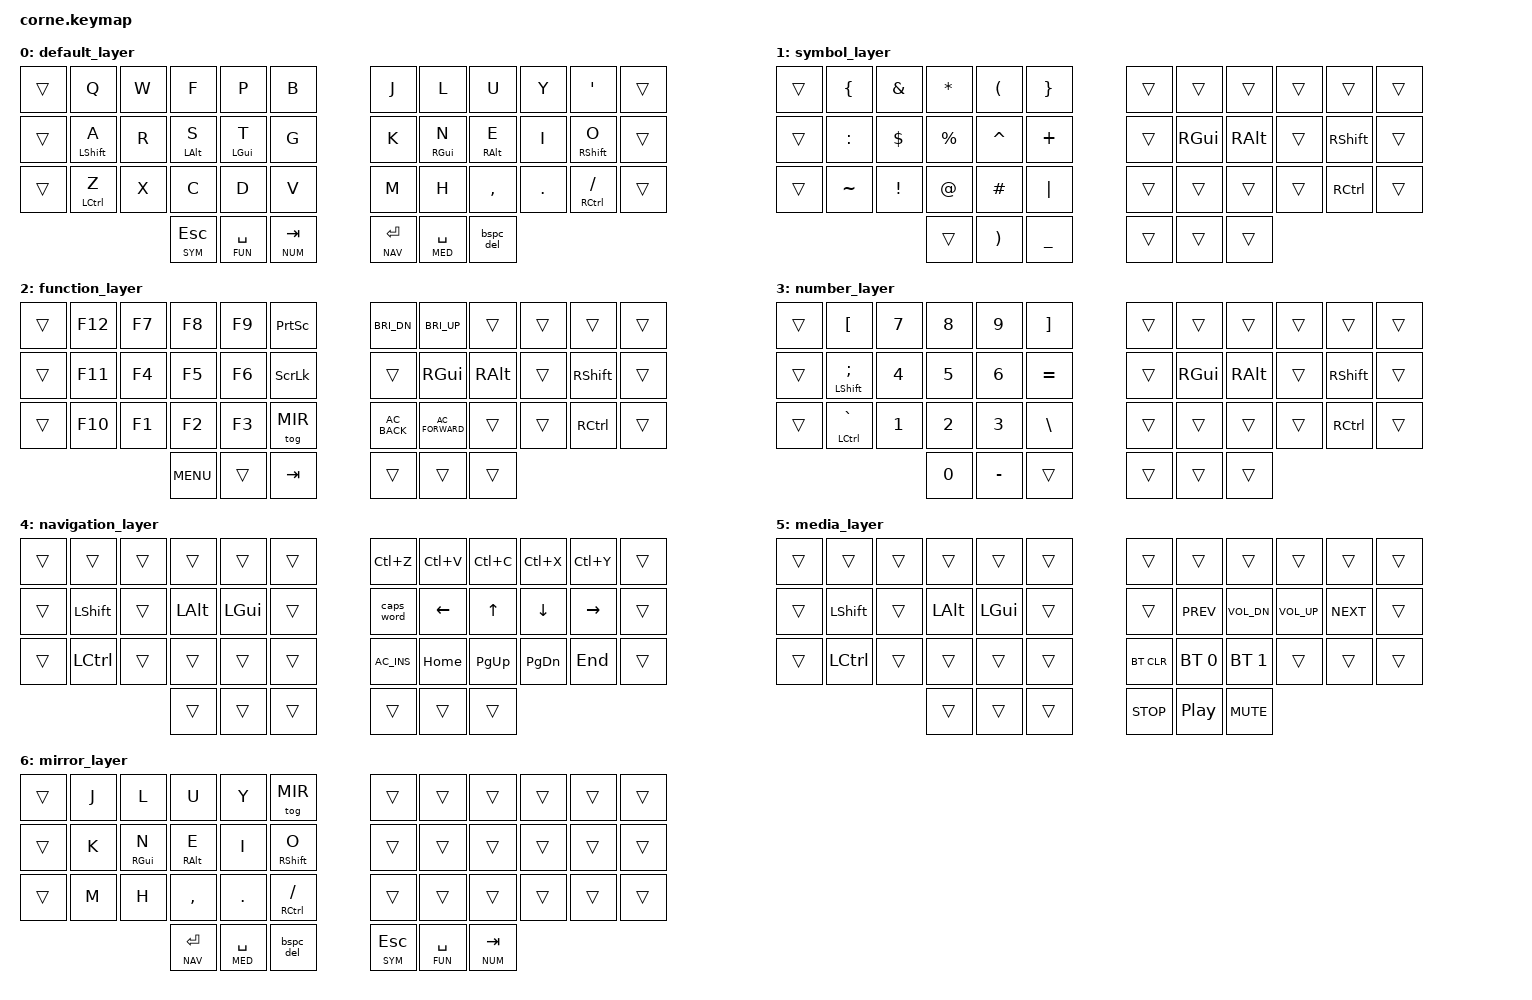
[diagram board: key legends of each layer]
/*
 * Copyright (c) 2020 The ZMK Contributors
 *
 * SPDX-License-Identifier: MIT
 */

 #include <behaviors.dtsi>
 #include <dt-bindings/zmk/keys.h>
 #include <dt-bindings/zmk/bt.h>
 #include <dt-bindings/zmk/outputs.h>

 #define DEFAULT 0
 #define SYM     1
 #define FUN     2
 #define NUM     3
 #define NAV     4
 #define MED     5
 #define MIR     6

 / {
        behaviors {
            ht: hold_tap {
                label = "hold_tap";
                compatible = "zmk,behavior-hold-tap";
                #binding-cells = <2>;
                flavor = "tap-preferred";
                tapping-term-ms = <200>;
                quick-tap-ms = <125>;
                global-quick-tap;
                bindings = <&kp>, <&kp>;
            };
                bspc_del: backspace_delete {
                compatible = "zmk,behavior-mod-morph";
                #binding-cells = <0>;
                bindings = <&kp BACKSPACE>, <&kp DELETE>;
                mods = <(MOD_LSFT|MOD_RSFT)>;
                keep-mods = <(MOD_RSFT)>;
            };
        
        };

        

         keymap {
                 compatible = "zmk,keymap";
 
 default_layer {
                         bindings = <
 &trans   &kp Q               &kp W       &kp F       &kp P         &kp B           &kp J     &kp L        &kp U        &kp Y       &kp SQT             &trans
 &trans   &ht LSHFT A         &kp R       &ht LALT S  &ht LGUI T    &kp G           &kp K     &ht RGUI N   &ht RALT E   &kp I       &ht RSHFT O         &trans
 &trans   &ht LCTRL Z         &kp X       &kp C       &kp D         &kp V           &kp M     &kp H        &kp COMMA    &kp DOT     &ht RCTRL FSLH      &trans
                              &lt SYM ESC &lt FUN SPACE &lt NUM TAB                           &lt NAV RET &lt MED SPACE &bspc_del
                         >;
               };
                


symbol_layer {
                         bindings = <
 &trans &kp LBRC     &kp AMPS     &kp STAR     &kp LPAR     &kp RBRC                &trans         &trans           &trans   &trans    &trans            &trans
 &trans &kp COLON    &kp DLLR     &kp PRCNT    &kp CARET    &kp PLUS                &trans         &kp RGUI         &kp RALT &trans    &kp RSHFT        &trans
 &trans &kp TILDE    &kp EXCL     &kp AT       &kp HASH     &kp PIPE                &trans         &trans           &trans   &trans    &kp RCTRL         &trans
                                  &trans     &kp RPAR     &kp UNDER                              &trans           &trans   &trans
                         >;
                 };

function_layer {
                         bindings = <
 &trans &kp F12   &kp F7      &kp F8       &kp F9      &kp PSCRN                    &kp C_BRI_DN   &kp C_BRI_UP     &trans    &trans    &trans        &trans
 &trans &kp F11   &kp F4      &kp F5       &kp F6      &kp SLCK                     &trans         &kp RGUI         &kp RALT  &trans    &kp RSHFT    &trans
 &trans &kp F10   &kp F1      &kp F2       &kp F3      &tog MIR                     &kp C_AC_BACK  &kp C_AC_FORWARD &trans    &trans    &kp RCTRL     &trans
                              &kp C_MENU   &trans   &kp TAB                      &trans         &trans           &trans
                         >;  
               };

number_layer {
                         bindings = <
 &trans &kp LBKT         &kp N7      &kp N8       &kp N9      &kp RBKT                     &trans         &trans           &trans    &trans    &trans        &trans
 &trans &ht LSHIFT SEMI  &kp N4      &kp N5       &kp N6      &kp EQUAL                    &trans         &kp RGUI         &kp RALT  &trans    &kp RSHFT    &trans
 &trans &ht LCTRL GRAVE  &kp N1      &kp N2       &kp N3      &kp BSLH                     &trans         &trans           &trans    &trans    &kp RCTRL     &trans
                              &kp N0      &kp MINUS      &trans                    &trans         &trans           &trans
                         >;
                 };

navigation_layer {
 
                         bindings = <
 &trans   &trans              &trans      &trans      &trans       &trans           &kp LC(Z)      &kp LC(V)        &kp LC(C)    &kp LC(X)    &kp LC(Y)        &trans
 &trans   &kp LSHFT           &trans      &kp LALT    &kp LGUI     &trans           &caps_word     &kp LEFT         &kp UP       &kp DOWN     &kp RIGHT        &trans
 &trans   &kp LCTRL           &trans      &trans      &trans       &trans           &kp C_AC_INS   &kp HOME         &kp PG_UP    &kp PG_DN    &kp END          &trans
                              &trans      &trans      &trans                        &trans         &trans           &trans
                         >;
                 };

media_layer {
                          bindings = <
 &trans   &trans              &trans      &trans      &trans       &trans           &trans         &trans       &trans       &trans       &trans              &trans
 &trans   &kp LSHFT           &trans      &kp LALT    &kp LGUI     &trans           &trans         &kp C_PREV   &kp C_VOL_DN &kp C_VOL_UP &kp C_NEXT          &trans
 &trans   &kp LCTRL           &trans      &trans      &trans       &trans           &bt BT_CLR     &bt BT_SEL 0 &bt BT_SEL 1 &trans       &trans              &trans
                              &trans      &trans      &trans                                       &kp C_STOP   &kp C_PP     &kp C_MUTE
                         >;
            };
 
mirror_layer {
                         bindings = <
&trans &kp J     &kp L        &kp U        &kp Y       &tog MIR                      &trans   &trans       &trans       &trans       &trans      &trans  
&trans &kp K     &ht RGUI N   &ht RALT E   &kp I       &ht RSHFT O                  &trans   &trans       &trans       &trans       &trans      &trans
&trans &kp M     &kp H        &kp COMMA    &kp DOT     &ht RCTRL FSLH               &trans   &trans       &trans       &trans       &trans      &trans
                           &lt NAV RET &lt MED SPACE &bspc_del                             &lt SYM ESC &lt FUN SPACE &lt NUM TAB                           
                         >;
               };

         };
 };
